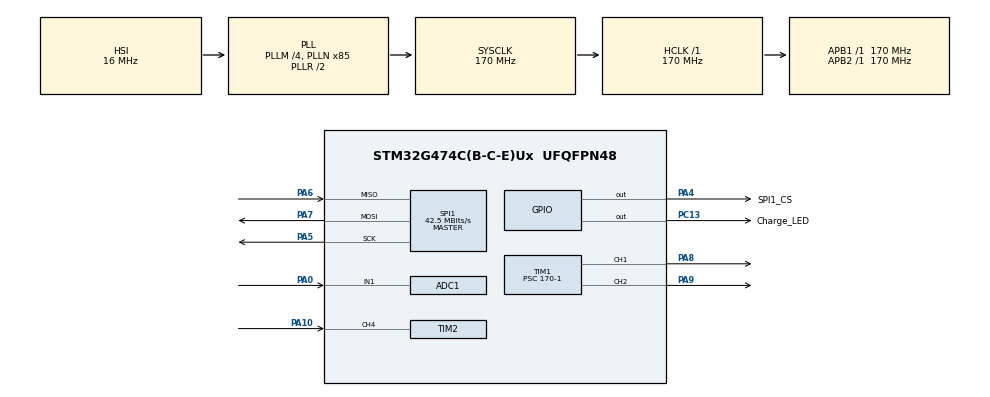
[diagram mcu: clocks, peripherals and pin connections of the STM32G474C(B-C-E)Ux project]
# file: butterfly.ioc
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ADC1.Channel-0\#ChannelRegularConversion=ADC_CHANNEL_1
ADC1.ContinuousConvMode=ENABLE
ADC1.DMAContinuousRequests=ENABLE
ADC1.NbrOfConversionFlag=1
ADC1.OffsetNumber-0\#ChannelRegularConversion=ADC_OFFSET_NONE
ADC1.Rank-0\#ChannelRegularConversion=1
ADC1.SamplingTime-0\#ChannelRegularConversion=ADC_SAMPLETIME_2CYCLES_5
ADC1.master=1
Dma.ADC1.0.Direction=DMA_PERIPH_TO_MEMORY
Dma.ADC1.0.EventEnable=DISABLE
Dma.ADC1.0.Instance=DMA1_Channel1
Dma.ADC1.0.MemDataAlignment=DMA_MDATAALIGN_HALFWORD
Dma.ADC1.0.MemInc=DMA_MINC_ENABLE
Dma.ADC1.0.Mode=DMA_CIRCULAR
Dma.ADC1.0.PeriphDataAlignment=DMA_PDATAALIGN_HALFWORD
Dma.ADC1.0.PeriphInc=DMA_PINC_DISABLE
Dma.ADC1.0.Polarity=HAL_DMAMUX_REQ_GEN_RISING
Dma.ADC1.0.Priority=DMA_PRIORITY_LOW
Dma.ADC1.0.RequestNumber=1
Dma.ADC1.0.SignalID=NONE
Dma.ADC1.0.SyncEnable=DISABLE
Dma.ADC1.0.SyncPolarity=HAL_DMAMUX_SYNC_NO_EVENT
Dma.ADC1.0.SyncRequestNumber=1
Dma.ADC1.0.SyncSignalID=NONE
Dma.Request0=ADC1
FREERTOS.Tasks01=defaultTask,0,128,StartDefaultTask,Default,NULL,Dynamic,NULL,NULL
Mcu.Family=STM32G4
Mcu.Name=STM32G474C(B-C-E)Ux
Mcu.Package=UFQFPN48
NVIC.DMA1_Channel1_IRQn=true\:5\:0\:false\:false\:true\:true\:false\:true\:true
NVIC.PriorityGroup=NVIC_PRIORITYGROUP_4
NVIC.TIM1_BRK_TIM15_IRQn=true\:15\:0\:false\:false\:true\:false\:false\:true\:true
NVIC.TIM2_IRQn=true\:5\:0\:false\:false\:true\:true\:true\:true\:true
NVIC.TimeBase=TIM1_BRK_TIM15_IRQn
NVIC.TimeBaseIP=TIM15
PA0.Mode=IN1-Single-Ended
PA0.Signal=ADC1_IN1
PA10.Signal=S_TIM2_CH4
PA13.Mode=Serial_Wire
PA13.Signal=SYS_JTMS-SWDIO
PA14.Mode=Serial_Wire
PA14.Signal=SYS_JTCK-SWCLK
PA4.GPIO_Label=SPI1_CS
PA4.PinState=GPIO_PIN_SET
PA4.Signal=GPIO_Output
PA5.Mode=Full_Duplex_Master
PA5.Signal=SPI1_SCK
PA6.Mode=Full_Duplex_Master
PA6.Signal=SPI1_MISO
PA7.Mode=Full_Duplex_Master
PA7.Signal=SPI1_MOSI
PA8.Signal=S_TIM1_CH1
PA9.Signal=S_TIM1_CH2
PC13.GPIO_Label=Charge_LED
PC13.Signal=GPIO_Output
ProjectManager.HeapSize=0x200
ProjectManager.StackSize=0x400
ProjectManager.TargetToolchain=MDK-ARM V5.32
RCC.ADC12Freq_Value=170000000
RCC.ADC345Freq_Value=170000000
RCC.AHBFreq_Value=170000000
RCC.APB1Freq_Value=170000000
RCC.APB1TimFreq_Value=170000000
RCC.APB2Freq_Value=170000000
RCC.APB2TimFreq_Value=170000000
RCC.CortexFreq_Value=170000000
RCC.EXTERNAL_CLOCK_VALUE=12288000
RCC.HCLKFreq_Value=170000000
RCC.HSE_VALUE=8000000
RCC.HSI48_VALUE=48000000
RCC.HSI_VALUE=16000000
RCC.LSE_VALUE=32768
RCC.PLLM=RCC_PLLM_DIV4
RCC.PLLN=85
RCC.SYSCLKFreq_VALUE=170000000
RCC.SYSCLKSource=RCC_SYSCLKSOURCE_PLLCLK
RCC.USBFreq_Value=170000000
RCC.VCOOutputFreq_Value=340000000
SH.S_TIM1_CH1.0=TIM1_CH1,PWM Generation1 CH1
SH.S_TIM1_CH2.0=TIM1_CH2,PWM Generation2 CH2
SH.S_TIM2_CH4.0=TIM2_CH4,Input_Capture4_from_TI4
SPI1.BaudRatePrescaler=SPI_BAUDRATEPRESCALER_4
SPI1.CalculateBaudRate=42.5 MBits/s
SPI1.DataSize=SPI_DATASIZE_8BIT
SPI1.Direction=SPI_DIRECTION_2LINES
SPI1.Mode=SPI_MODE_MASTER
SPI1.VirtualType=VM_MASTER
TIM1.Channel-PWM\ Generation1\ CH1=TIM_CHANNEL_1
TIM1.Channel-PWM\ Generation2\ CH2=TIM_CHANNEL_2
TIM1.PeriodNoDither=20000-1
TIM1.Prescaler=170-1
TIM2.Channel-Input_Capture4_from_TI4=TIM_CHANNEL_4
TIM2.PeriodNoDither=65535
TIM2.Prescaler=170-1
VP_FREERTOS_VS_CMSIS_V1.Mode=CMSIS_V1
VP_SYS_VS_DBSignals.Mode=DisableDeadBatterySignals
VP_SYS_VS_tim15.Mode=TIM15
VP_TIM1_VS_ClockSourceINT.Mode=Internal
VP_TIM2_VS_ClockSourceINT.Mode=Internal
board=custom

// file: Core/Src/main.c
/* USER CODE BEGIN Header */
/**
  ******************************************************************************
  * @file           : main.c
  * @brief          : Main program body
  ******************************************************************************
  * @attention
  *
  * Copyright (c) 2026 STMicroelectronics.
  * All rights reserved.
  *
  * This software is licensed under terms that can be found in the LICENSE file
  * in the root directory of this software component.
  * If no LICENSE file comes with this software, it is provided AS-IS.
  *
  ******************************************************************************
  */
/* USER CODE END Header */
#include "main.h"
#include "cmsis_os.h"
#include "adc.h"
#include "dma.h"
#include "spi.h"
#include "tim.h"
#include "gpio.h"

void SystemClock_Config(void);
void MX_FREERTOS_Init(void);

int main(void)
{

  /* MCU Configuration--------------------------------------------------------*/

  /* Reset of all peripherals, Initializes the Flash interface and the Systick. */
  HAL_Init();

  /* Configure the system clock */
  SystemClock_Config();

  /* Initialize all configured peripherals */
  MX_GPIO_Init();
  MX_DMA_Init();
  MX_ADC1_Init();
  MX_TIM1_Init();
  MX_TIM2_Init();
  MX_SPI1_Init();

  /* Call init function for freertos objects (in cmsis_os2.c) */
  MX_FREERTOS_Init();

  /* Start scheduler */
  osKernelStart();

  /* We should never get here as control is now taken by the scheduler */

  /* Infinite loop */
  while (1)
  {

  }
}

void SystemClock_Config(void)
{
  RCC_OscInitTypeDef RCC_OscInitStruct = {0};
  RCC_ClkInitTypeDef RCC_ClkInitStruct = {0};

  /** Configure the main internal regulator output voltage
  */
  HAL_PWREx_ControlVoltageScaling(PWR_REGULATOR_VOLTAGE_SCALE1_BOOST);

  /** Initializes the RCC Oscillators according to the specified parameters
  * in the RCC_OscInitTypeDef structure.
  */
  RCC_OscInitStruct.OscillatorType = RCC_OSCILLATORTYPE_HSI;
  RCC_OscInitStruct.HSIState = RCC_HSI_ON;
  RCC_OscInitStruct.HSICalibrationValue = RCC_HSICALIBRATION_DEFAULT;
  RCC_OscInitStruct.PLL.PLLState = RCC_PLL_ON;
  RCC_OscInitStruct.PLL.PLLSource = RCC_PLLSOURCE_HSI;
  RCC_OscInitStruct.PLL.PLLM = RCC_PLLM_DIV4;
  RCC_OscInitStruct.PLL.PLLN = 85;
  RCC_OscInitStruct.PLL.PLLP = RCC_PLLP_DIV2;
  RCC_OscInitStruct.PLL.PLLQ = RCC_PLLQ_DIV2;
  RCC_OscInitStruct.PLL.PLLR = RCC_PLLR_DIV2;
  if (HAL_RCC_OscConfig(&RCC_OscInitStruct) != HAL_OK)
  {
    Error_Handler();
  }

  /** Initializes the CPU, AHB and APB buses clocks
  */
  RCC_ClkInitStruct.ClockType = RCC_CLOCKTYPE_HCLK|RCC_CLOCKTYPE_SYSCLK
                              |RCC_CLOCKTYPE_PCLK1|RCC_CLOCKTYPE_PCLK2;
  RCC_ClkInitStruct.SYSCLKSource = RCC_SYSCLKSOURCE_PLLCLK;
  RCC_ClkInitStruct.AHBCLKDivider = RCC_SYSCLK_DIV1;
  RCC_ClkInitStruct.APB1CLKDivider = RCC_HCLK_DIV1;
  RCC_ClkInitStruct.APB2CLKDivider = RCC_HCLK_DIV1;

  if (HAL_RCC_ClockConfig(&RCC_ClkInitStruct, FLASH_LATENCY_4) != HAL_OK)
  {
    Error_Handler();
  }
}

void HAL_TIM_PeriodElapsedCallback(TIM_HandleTypeDef *htim)
{
  if (htim->Instance == TIM15)
  {
    HAL_IncTick();
  }
}

void Error_Handler(void)
{
  __disable_irq();
  while (1)
  {
  }
}

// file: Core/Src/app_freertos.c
/* USER CODE BEGIN Header */
/**
  ******************************************************************************
  * File Name          : app_freertos.c
  * Description        : Code for freertos applications
  ******************************************************************************
  * @attention
  *
  * Copyright (c) 2026 STMicroelectronics.
  * All rights reserved.
  *
  * This software is licensed under terms that can be found in the LICENSE file
  * in the root directory of this software component.
  * If no LICENSE file comes with this software, it is provided AS-IS.
  *
  ******************************************************************************
  */
/* USER CODE END Header */

#include "FreeRTOS.h"
#include "task.h"
#include "main.h"
#include "cmsis_os.h"

/* USER CODE BEGIN Includes */
#include"tim.h"
#include"adc.h"
#include"Com_IMU.h"
#include"Com_PID.h"
#include<math.h>

/* USER CODE END Includes */

/* USER CODE BEGIN PD */

#define Servo_Min_angle 60.0f
#define Servo_Max_angle 120.0f
#define Servo_Step 5.0f
TaskHandle_t Servo_Handle;
#define Servo_Task_priority 5
#define Servo_Task_Stack_Size 256
TaskHandle_t Battery_Handle;
#define Battery_Task_priority 4
#define Battery_Task_Stack_Size 192
TaskHandle_t LED_Handle;
#define LED_Task_priority 3
#define LED_Task_Stack_Size 128
TaskHandle_t Control_Handle;
#define Control_Task_priority 6
#define Control_Task_Stack_Size 512
/* USER CODE END PD */

/* USER CODE BEGIN Variables */
extern volatile uint16_t ppm_recv[];
extern volatile uint8_t ppm_flag;
/* USER CODE END Variables */
osThreadId defaultTaskHandle;

/* USER CODE BEGIN FunctionPrototypes */
void Servo_Task(void *para);
void Battery_Task(void *para);
void LED_Task(void *para);
void Control_Task(void *para);
/* USER CODE END FunctionPrototypes */

void StartDefaultTask(void const * argument);

void MX_FREERTOS_Init(void); /* (MISRA C 2004 rule 8.1) */

void MX_FREERTOS_Init(void) {

  /* Create the thread(s) */
  /* definition and creation of defaultTask */
  osThreadDef(defaultTask, StartDefaultTask, osPriorityNormal, 0, 128);
  defaultTaskHandle = osThreadCreate(osThread(defaultTask), NULL);

  /* USER CODE BEGIN RTOS_THREADS */
  if (xTaskCreate(Servo_Task, "Servo_Task", Servo_Task_Stack_Size, NULL, Servo_Task_priority, &Servo_Handle) != pdPASS)
  {
    Error_Handler();
  }
  if (xTaskCreate(Battery_Task, "Battery_Task", Battery_Task_Stack_Size, NULL, Battery_Task_priority, &Battery_Handle) != pdPASS)
  {
    Error_Handler();
  }
  if (xTaskCreate(LED_Task, "LED_Task", LED_Task_Stack_Size, NULL, LED_Task_priority, &LED_Handle) != pdPASS)
  {
    Error_Handler();
  }
  if (xTaskCreate(Control_Task, "Control_Task", Control_Task_Stack_Size, NULL, Control_Task_priority, &Control_Handle) != pdPASS)
  {
    Error_Handler();
  }
  /* add threads, ... */
  /* USER CODE END RTOS_THREADS */

}

void StartDefaultTask(void const * argument)
{
  for(;;)
  {
    osDelay(1);
  }
}

/* USER CODE BEGIN Application */
volatile float ctrl_bias = 0.0f;  /* 转向偏差：遥控器CH1，±15° */

static float ClampF(float val, float min, float max)
{
  if (val < min)
  {
    return min;
  }
  if (val > max)
  {
    return max;
  }
  return val;
}

static uint32_t AngleToPulse(float angle)
{
  return (uint32_t)((angle / 180.0f) * 2000.0f + 500.0f);
}
void Servo_Task(void *para)
{
  TickType_t xLastWakeTime = xTaskGetTickCount();
  float center = (Servo_Max_angle + Servo_Min_angle) / 2.0f;
  float amplitude = (Servo_Max_angle - Servo_Min_angle) / 2.0f;
  float phase = 0.0f;
  float phase_step = 2.0f * 3.14159265f / ((Servo_Max_angle - Servo_Min_angle) / Servo_Step * 2.0f);

  HAL_TIM_PWM_Start(&htim1, TIM_CHANNEL_1);
  HAL_TIM_PWM_Start(&htim1, TIM_CHANNEL_2);
  while(1)
  {
    float angle = center + amplitude * sinf(phase);
    float bias = ctrl_bias;
    uint32_t pulse1=AngleToPulse(angle + bias);
    uint32_t pulse2=AngleToPulse(180.0f - angle - bias);
    __HAL_TIM_SET_COMPARE(&htim1,TIM_CHANNEL_1,pulse1);
    __HAL_TIM_SET_COMPARE(&htim1,TIM_CHANNEL_2,pulse2);
    phase += phase_step;
    if(phase >= 2.0f * 3.14159265f)
      phase -= 2.0f * 3.14159265f;
    vTaskDelayUntil(&xLastWakeTime,pdMS_TO_TICKS(10));
  }
}
volatile float voltage;
void Battery_Task(void*para)
{
  static volatile uint16_t adc_value[1];
  HAL_ADCEx_Calibration_Start(&hadc1, ADC_SINGLE_ENDED);
  HAL_ADC_Start_DMA(&hadc1,(uint32_t *)adc_value,1);
  while(1)
  {
    voltage=adc_value[0]*3.3f/4095;
    vTaskDelay(pdMS_TO_TICKS(500));
  }
}
void LED_Task(void*para)
{
  while(1)
  {
    if(voltage<3.0f)
    {
      HAL_GPIO_WritePin(Charge_LED_GPIO_Port,Charge_LED_Pin,GPIO_PIN_SET);
      vTaskDelay(pdMS_TO_TICKS(500));
      HAL_GPIO_WritePin(Charge_LED_GPIO_Port,Charge_LED_Pin,GPIO_PIN_RESET);
      vTaskDelay(pdMS_TO_TICKS(500));
    }
    else
    {
      HAL_GPIO_WritePin(Charge_LED_GPIO_Port,Charge_LED_Pin,GPIO_PIN_SET);
      vTaskDelay(pdMS_TO_TICKS(200));
    }
  }
}
void Control_Task(void*para)
{
  const float dt_s = 0.01f;
  const float gyro_lsb_per_dps = 16.4f;
  const float accel_lsb_per_g = 16384.0f;   /* ±2g -> 16384 LSB/g */
  const float alpha = 0.98f;

  TickType_t xLastWakeTime = xTaskGetTickCount();
  IMU_Attitude_t att;

  /* 保存一次标定出来的零偏，供内环角速度反馈使用 */
  IMU_AxisFloat_t gyro_bias_dps = {0.0f, 0.0f, 0.0f};

  /* 外环: 角度PID (roll) -> 输出目标角速度(dps) */
  PID roll_angle_pid = {
    .kp = 4.0f,
    .ki = 0.0f,
    .kd = 0.2f,
    .actual = 0.0f,
    .target = 0.0f,
    .error = 0.0f,
    .last_error = 0.0f,
    .integral = 0.0f,
    .derivative = 0.0f,
    .output = 0.0f
  };

  /* 内环: 角速度PID -> 输出转向偏置 */
  PID roll_rate_pid = {
    .kp = 0.12f,
    .ki = 0.0f,
    .kd = 0.0f,
    .actual = 0.0f,
    .target = 0.0f,
    .error = 0.0f,
    .last_error = 0.0f,
    .integral = 0.0f,
    .derivative = 0.0f,
    .output = 0.0f
  };

  if (Com_IMU_Init() != HAL_OK)
  {
    Error_Handler();
  }

  /* 静止标定零偏: 200次, 5ms间隔, 约1秒 */
  if (Com_IMU_CalibrateGyroBias(200U, 5U, gyro_lsb_per_dps, &gyro_bias_dps) != HAL_OK)
  {
    Error_Handler();
  }

  HAL_TIM_IC_Start_IT(&htim2, TIM_CHANNEL_4);

  while(1)
  {
    float roll_target_deg = 0.0f;
    IMU_AxisRaw_t gyro_raw;
    IMU_AxisFloat_t gyro_dps;

    if (ppm_flag)
    {
      ppm_flag = 0;

      /* CH1左右摇杆作为roll目标角：1500us居中，±500us -> ±20° */
      roll_target_deg = ((float)ppm_recv[0] - 1500.0f) / 500.0f * 20.0f;
      roll_target_deg = ClampF(roll_target_deg, -20.0f, 20.0f);
      roll_angle_pid.target = roll_target_deg;
    }

    if (Com_IMU_UpdateAttitude(dt_s, gyro_lsb_per_dps, accel_lsb_per_g, alpha, &att) == HAL_OK)
    {
      roll_angle_pid.actual = att.roll_deg;

      if (Com_IMU_ReadGyroRaw(&gyro_raw) == HAL_OK)
      {
        Com_IMU_GyroRawToDps(&gyro_raw, &gyro_dps, gyro_lsb_per_dps);

        /* 内环角速度反馈也减去零偏 */
        gyro_dps.x -= gyro_bias_dps.x;
        gyro_dps.y -= gyro_bias_dps.y;
        gyro_dps.z -= gyro_bias_dps.z;

        /* 级联PID: 外环输出角速度目标, 内环根据实际角速度求控制 */
        roll_rate_pid.actual = gyro_dps.x;
        PID_Cascade(&roll_angle_pid, &roll_rate_pid, dt_s);

        /* 映射到已有舵机转向偏置，按需要可改符号 */
        ctrl_bias = ClampF(-roll_rate_pid.output, -15.0f, 15.0f);
      }
    }

    vTaskDelayUntil(&xLastWakeTime, pdMS_TO_TICKS(10));

  }
}

void vApplicationMallocFailedHook(void)
{
  Error_Handler();
}

void vApplicationStackOverflowHook(TaskHandle_t xTask, char *pcTaskName)
{
  (void)xTask;
  (void)pcTaskName;
  Error_Handler();
}
/* USER CODE END Application */
